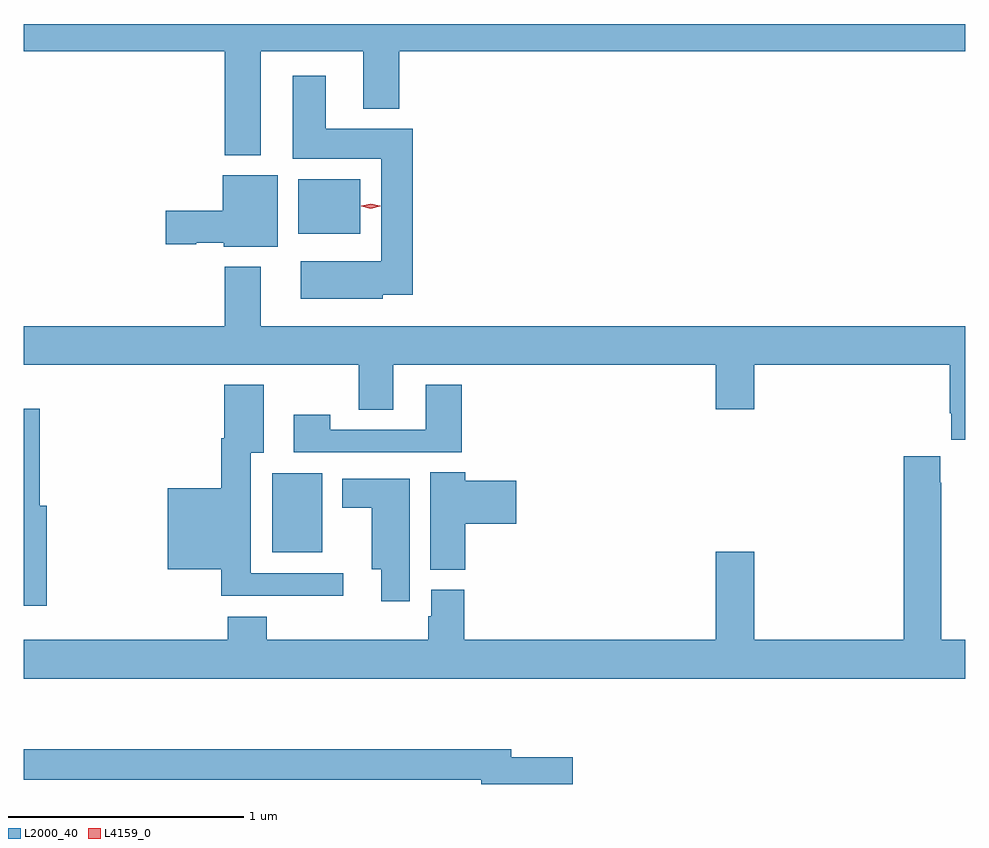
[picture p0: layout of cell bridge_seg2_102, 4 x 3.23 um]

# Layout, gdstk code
import gdstk
lib = gdstk.Library(unit=1e-6, precision=1e-09)
def R(c, l, rs):  # rectangles x0, y0, x1, y1
    for r in rs: c.add(gdstk.rectangle(r[:2], r[2:], *l))
def P(c, l, *ps):  # polygons
    for p in ps: c.add(gdstk.Polygon(p, *l))
L2000_40 = (2000, 40)
L4159_0 = (4159, 0)

bridge_seg2_102 = lib.new_cell('bridge_seg2_102')
R(bridge_seg2_102, L2000_40, [(618.668,664.157,618.88,664.492), (618.779,665.51,619.042,665.74)])
P(bridge_seg2_102, L2000_40, [(618.619,666.284),(619.055,666.284),(619.055,666.041),(619.208,666.041),(619.208,666.284),(621.612,666.284),(621.612,666.4),(617.612,666.4),(617.612,666.284),(618.467,666.284),(618.467,665.843),(618.619,665.843)],
  [(619.137,665.249),(619.265,665.249),(619.265,665.956),(618.895,665.956),(618.895,666.181),(618.755,666.181),(618.755,665.828),(619.13,665.828),(619.13,665.392),(618.789,665.392),(618.789,665.234),(619.137,665.234)],
  [(618.691,665.758),(618.458,665.758),(618.458,665.606),(618.216,665.606),(618.216,665.464),(618.345,665.464),(618.345,665.471),(618.462,665.471),(618.462,665.453),(618.691,665.453)],
  [(621.612,665.116),(618.619,665.116),(618.619,665.368),(618.467,665.368),(618.467,665.116),(617.612,665.116),(617.612,664.952),(619.036,664.952),(619.036,664.762),(619.183,664.762),(619.183,664.952),(620.552,664.952),(620.552,664.764),(620.716,664.764),(620.716,664.952),(621.545,664.952),(621.545,664.747),(621.551,664.747),(621.551,664.635),(621.612,664.635)],
  [(619.472,664.867),(619.319,664.867),(619.319,664.677),(618.915,664.677),(618.915,664.741),(618.759,664.741),(618.759,664.581),(619.472,664.581)],
  [(618.97,664.068),(618.577,664.068),(618.577,664.58),(618.631,664.58),(618.631,664.867),(618.464,664.867),(618.464,664.64),(618.452,664.64),(618.452,664.429),(618.224,664.429),(618.224,664.085),(618.452,664.085),(618.452,663.971),(618.97,663.971)],
  [(617.711,664.354),(617.681,664.354),(617.681,664.765),(617.612,664.765),(617.612,663.93),(617.711,663.93)],
  [(621.612,663.784),(621.51,663.784),(621.51,664.451),(621.505,664.451),(621.505,664.564),(621.35,664.564),(621.35,663.784),(620.716,663.784),(620.716,664.159),(620.552,664.159),(620.552,663.784),(619.484,663.784),(619.484,663.996),(619.343,663.996),(619.343,663.885),(619.331,663.885),(619.331,663.784),(618.644,663.784),(618.644,663.883),(618.479,663.883),(618.479,663.784),(617.612,663.784),(617.612,663.62),(621.612,663.62)],
  [(619.487,664.277),(619.705,664.277),(619.705,664.46),(619.487,664.46),(619.487,664.496),(619.34,664.496),(619.34,664.081),(619.487,664.081)],
  [(619.252,664.468),(618.965,664.468),(618.965,664.346),(619.091,664.346),(619.091,664.085),(619.13,664.085),(619.13,663.948),(619.252,663.948)],
  [(619.945,663.285),(619.684,663.285),(619.684,663.319),(617.612,663.319),(617.612,663.19),(619.556,663.19),(619.556,663.172),(619.945,663.172)])
P(bridge_seg2_102, L4159_0, [(619.086,665.616),(619.046,665.626),(619.045,665.626),(619.046,665.627),(619.086,665.636),(619.127,665.627),(619.127,665.626),(619.127,665.626)])

lib.write_gds('bridge_seg2_102.gds')
